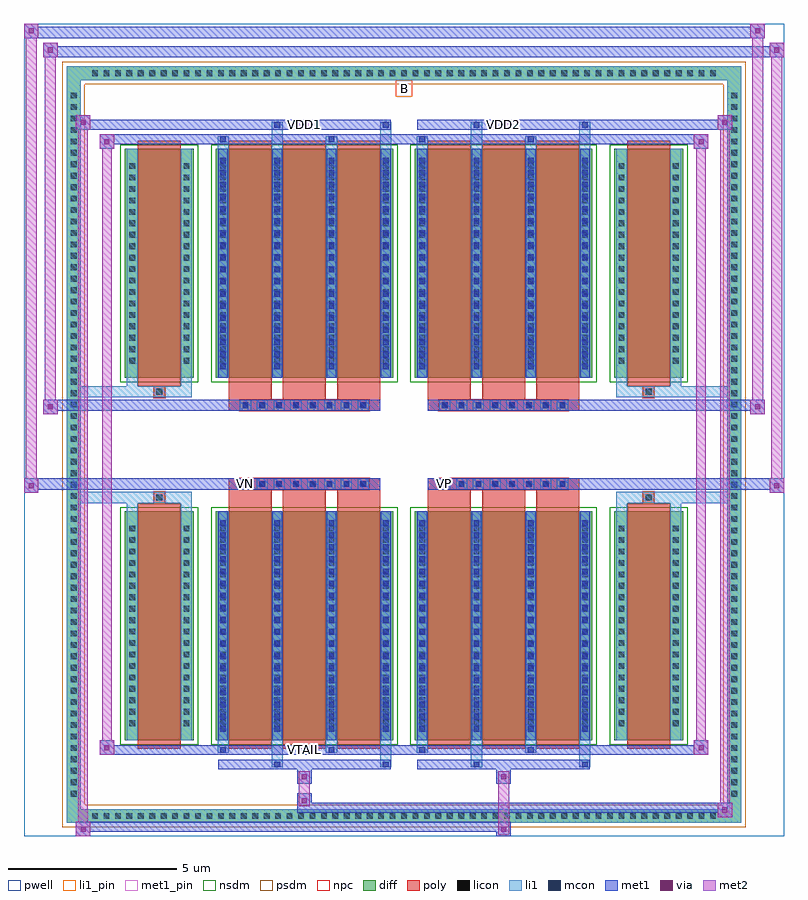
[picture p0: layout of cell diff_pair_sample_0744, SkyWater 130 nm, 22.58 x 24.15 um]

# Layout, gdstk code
import gdstk
lib = gdstk.Library(unit=1e-6, precision=5e-09)
def R(c, l, rs):  # rectangles x0, y0, x1, y1
    for r in rs: c.add(gdstk.rectangle(r[:2], r[2:], *l))
def A(c, l, x, y, w, h, nx, ny, dx, dy):  # array of equal rectangles
    R(c, l, [(x+i*dx, y+j*dy, x+i*dx+w, y+j*dy+h) for i in range(nx) for j in range(ny)])
def P(c, l, *ps):  # polygons
    for p in ps: c.add(gdstk.Polygon(p, *l))
pwell = (64, 44)
diff = (65, 20)
poly = (66, 20)
licon = (66, 44)
li1_pin = (67, 16)
li1 = (67, 20)
mcon = (67, 44)
met1_pin = (68, 16)
met1 = (68, 20)
via = (68, 44)
met2 = (69, 20)
nsdm = (93, 44)
psdm = (94, 20)
npc = (95, 20)

diff_pair_sample_0744 = lib.new_cell('diff_pair_sample_0744')
R(diff_pair_sample_0744, pwell, [(-11.29,-11.64,11.29,12.51), (-8.61,-9.83,-0.01,-0.805), (0.01,-9.83,8.61,-0.805), (-8.61,0.805,-0.01,9.83), (0.01,0.805,8.61,9.83)])
A(diff_pair_sample_0744, diff, -9.385, -11.24, 0.41, 0.41, 55, 2, 0.34, 22.07)
A(diff_pair_sample_0744, diff, -10.02, -10.575, 0.41, 0.41, 1, 62, 0, 0.34)
A(diff_pair_sample_0744, diff, 9.61, -10.575, 0.41, 0.41, 1, 62, 0, 0.34)
R(diff_pair_sample_0744, diff, [(-9.385,-11.24,9.385,-10.83), (-10.02,-10.575,-9.61,10.575), (9.61,-10.575,10.02,10.575), (-8.3,-8.785,-6.24,-1.985), (-5.6,-8.785,-0.32,-1.985), (0.32,-8.785,5.6,-1.985), (6.24,-8.785,8.3,-1.985), (-8.3,1.985,-6.24,8.785), (-5.6,1.985,-0.32,8.785), (0.32,1.985,5.6,8.785), (6.24,1.985,8.3,8.785), (-9.385,10.83,9.385,11.24)])
P(diff_pair_sample_0744, diff, [(10.02,11.24),(-10.02,11.24),(-10.02,-10.83),(-9.61,-10.83),(-9.61,10.83),(9.61,10.83),(9.61,-10.83),(-9.61,-10.83),(-10.02,-10.83),(-10.02,-11.24),(10.02,-11.24)])
A(diff_pair_sample_0744, poly, -5.21, -9.035, 1.28, 7.3, 3, 2, 1.61, 10.77)
A(diff_pair_sample_0744, poly, 0.71, -9.035, 1.28, 7.3, 3, 2, 1.61, 10.77)
A(diff_pair_sample_0744, poly, -5.21, -1.735, 1.28, 0.4, 3, 2, 1.61, 3.07)
A(diff_pair_sample_0744, poly, 0.71, -1.735, 1.28, 0.4, 3, 2, 1.61, 3.07)
A(diff_pair_sample_0744, poly, -4.875, -1.335, 0.33, 0.33, 8, 2, 0.5, 2.34)
A(diff_pair_sample_0744, poly, 1.045, -1.335, 0.33, 0.33, 8, 2, 0.5, 2.34)
R(diff_pair_sample_0744, poly, [(-7.91,-9.035,-6.63,-1.735), (6.63,-9.035,7.91,-1.735), (-7.435,-1.735,-7.105,-1.405), (-7.435,-1.735,-7.105,-1.405), (7.105,-1.735,7.435,-1.405), (7.105,-1.735,7.435,-1.405), (-5.21,-1.335,-0.71,-1.005), (0.71,-1.335,5.21,-1.005), (-5.21,1.005,-0.71,1.335), (0.71,1.005,5.21,1.335), (-7.435,1.405,-7.105,1.735), (-7.435,1.405,-7.105,1.735), (7.105,1.405,7.435,1.735), (7.105,1.405,7.435,1.735), (-7.91,1.735,-6.63,9.035), (6.63,1.735,7.91,9.035)])
A(diff_pair_sample_0744, licon, -9.265, -11.12, 0.17, 0.17, 55, 2, 0.34, 22.07)
A(diff_pair_sample_0744, licon, -9.9, -10.455, 0.17, 0.17, 1, 62, 0, 0.34)
A(diff_pair_sample_0744, licon, 9.73, -10.455, 0.17, 0.17, 1, 62, 0, 0.34)
A(diff_pair_sample_0744, licon, -8.16, -8.36, 0.17, 0.17, 1, 18, 0, 0.34)
A(diff_pair_sample_0744, licon, -6.55, -8.36, 0.17, 0.17, 1, 18, 0, 0.34)
A(diff_pair_sample_0744, licon, -5.46, -8.36, 0.17, 0.17, 4, 18, 1.61, 0.34)
A(diff_pair_sample_0744, licon, 0.46, -8.36, 0.17, 0.17, 4, 18, 1.61, 0.34)
A(diff_pair_sample_0744, licon, 6.38, -8.36, 0.17, 0.17, 1, 18, 0, 0.34)
A(diff_pair_sample_0744, licon, 7.99, -8.36, 0.17, 0.17, 1, 18, 0, 0.34)
A(diff_pair_sample_0744, licon, -4.795, -1.255, 0.17, 0.17, 8, 2, 0.5, 2.34)
A(diff_pair_sample_0744, licon, 1.125, -1.255, 0.17, 0.17, 8, 2, 0.5, 2.34)
A(diff_pair_sample_0744, licon, -8.16, 2.41, 0.17, 0.17, 1, 18, 0, 0.34)
A(diff_pair_sample_0744, licon, -6.55, 2.41, 0.17, 0.17, 1, 18, 0, 0.34)
A(diff_pair_sample_0744, licon, -5.46, 2.41, 0.17, 0.17, 4, 18, 1.61, 0.34)
A(diff_pair_sample_0744, licon, 0.46, 2.41, 0.17, 0.17, 4, 18, 1.61, 0.34)
A(diff_pair_sample_0744, licon, 6.38, 2.41, 0.17, 0.17, 1, 18, 0, 0.34)
A(diff_pair_sample_0744, licon, 7.99, 2.41, 0.17, 0.17, 1, 18, 0, 0.34)
R(diff_pair_sample_0744, licon, [(-7.355,-1.655,-7.185,-1.485), (7.185,-1.655,7.355,-1.485), (-7.355,1.485,-7.185,1.655), (7.185,1.485,7.355,1.655)])
R(diff_pair_sample_0744, li1_pin, [(-0.25,10.33,0.25,10.83)])
A(diff_pair_sample_0744, li1, -9.345, -11.2, 0.33, 0.33, 55, 2, 0.34, 22.07)
A(diff_pair_sample_0744, li1, -9.98, -10.535, 0.33, 0.33, 1, 62, 0, 0.34)
A(diff_pair_sample_0744, li1, 9.65, -10.535, 0.33, 0.33, 1, 62, 0, 0.34)
A(diff_pair_sample_0744, li1, -5.54, -8.785, 0.33, 6.8, 4, 2, 1.61, 10.77)
A(diff_pair_sample_0744, li1, 0.38, -8.785, 0.33, 6.8, 4, 2, 1.61, 10.77)
A(diff_pair_sample_0744, li1, -5.46, -8.53, 0.17, 0.17, 4, 18, 1.61, 0.36)
A(diff_pair_sample_0744, li1, -5.46, -8.53, 0.17, 6.29, 4, 2, 1.61, 10.77)
A(diff_pair_sample_0744, li1, 0.46, -8.53, 0.17, 0.17, 4, 18, 1.61, 0.36)
A(diff_pair_sample_0744, li1, 0.46, -8.53, 0.17, 6.29, 4, 2, 1.61, 10.77)
A(diff_pair_sample_0744, li1, -8.24, -8.44, 0.33, 0.33, 1, 18, 0, 0.34)
A(diff_pair_sample_0744, li1, -6.63, -8.44, 0.33, 0.33, 1, 18, 0, 0.34)
A(diff_pair_sample_0744, li1, -5.54, -8.44, 0.33, 0.33, 4, 18, 1.61, 0.34)
A(diff_pair_sample_0744, li1, 0.38, -8.44, 0.33, 0.33, 4, 18, 1.61, 0.34)
A(diff_pair_sample_0744, li1, 6.3, -8.44, 0.33, 0.33, 1, 18, 0, 0.34)
A(diff_pair_sample_0744, li1, 7.91, -8.44, 0.33, 0.33, 1, 18, 0, 0.34)
A(diff_pair_sample_0744, li1, -4.875, -1.335, 0.33, 0.33, 8, 2, 0.5, 2.34)
A(diff_pair_sample_0744, li1, 1.045, -1.335, 0.33, 0.33, 8, 2, 0.5, 2.34)
A(diff_pair_sample_0744, li1, -5.46, 2.24, 0.17, 0.17, 4, 18, 1.61, 0.36)
A(diff_pair_sample_0744, li1, 0.46, 2.24, 0.17, 0.17, 4, 18, 1.61, 0.36)
A(diff_pair_sample_0744, li1, -8.24, 2.33, 0.33, 0.33, 1, 18, 0, 0.34)
A(diff_pair_sample_0744, li1, -6.63, 2.33, 0.33, 0.33, 1, 18, 0, 0.34)
A(diff_pair_sample_0744, li1, -5.54, 2.33, 0.33, 0.33, 4, 18, 1.61, 0.34)
A(diff_pair_sample_0744, li1, 0.38, 2.33, 0.33, 0.33, 4, 18, 1.61, 0.34)
A(diff_pair_sample_0744, li1, 6.3, 2.33, 0.33, 0.33, 1, 18, 0, 0.34)
A(diff_pair_sample_0744, li1, 7.91, 2.33, 0.33, 0.33, 1, 18, 0, 0.34)
R(diff_pair_sample_0744, li1, [(-10.02,-11.24,-9.61,-10.83), (-10.02,-11.24,-9.61,-10.83), (-9.61,-11.24,9.61,-10.83), (9.61,-11.24,10.02,-10.83), (9.61,-11.24,10.02,-10.83), (-10.02,-10.83,-9.61,10.83), (9.61,-10.83,10.02,10.83), (-3.93,-9.59,-3.6,-8.785), (-3.85,-9.59,-3.68,-9.42), (-0.71,-9.59,-0.38,-8.785), (-0.63,-9.59,-0.46,-9.42), (1.99,-9.59,2.32,-8.785), (2.07,-9.59,2.24,-9.42), (5.21,-9.59,5.54,-8.785), (5.29,-9.59,5.46,-9.42), (-5.54,-9.16,-5.21,-8.785), (-5.46,-9.16,-5.29,-8.99), (-2.32,-9.16,-1.99,-8.785), (-2.24,-9.16,-2.07,-8.99), (0.38,-9.16,0.71,-8.785), (0.46,-9.16,0.63,-8.99), (3.6,-9.16,3.93,-8.785), (3.68,-9.16,3.85,-8.99), (-8.24,-8.785,-7.91,-1.985), (-6.63,-8.785,-6.3,-1.985), (6.3,-8.785,6.63,-1.985), (7.91,-8.785,8.24,-1.985), (-8.24,-1.985,-7.91,-1.405), (-6.63,-1.985,-6.3,-1.405), (6.3,-1.985,6.63,-1.405), (7.91,-1.985,8.24,-1.405), (-10.02,-1.735,-7.435,-1.405), (-8.24,-1.735,-7.435,-1.405), (-7.435,-1.735,-7.105,-1.405), (-7.105,-1.735,-6.3,-1.405), (6.3,-1.735,7.105,-1.405), (7.105,-1.735,7.435,-1.405), (7.105,-1.735,10.02,-1.405), (7.435,-1.735,8.24,-1.405), (-10.02,1.405,-7.435,1.735), (-8.24,1.405,-7.435,1.735), (-8.24,1.405,-7.91,1.985), (-7.435,1.405,-7.105,1.735), (-7.105,1.405,-6.3,1.735), (-6.63,1.405,-6.3,1.985), (6.3,1.405,7.105,1.735), (6.3,1.405,6.63,1.985), (7.105,1.405,7.435,1.735), (7.105,1.405,10.02,1.735), (7.435,1.405,8.24,1.735), (7.91,1.405,8.24,1.985), (-8.24,1.985,-7.91,8.785), (-6.63,1.985,-6.3,8.785), (6.3,1.985,6.63,8.785), (7.91,1.985,8.24,8.785), (-5.54,8.785,-5.21,9.16), (-3.93,8.785,-3.6,9.59), (-2.32,8.785,-1.99,9.16), (-0.71,8.785,-0.38,9.59), (0.38,8.785,0.71,9.16), (1.99,8.785,2.32,9.59), (3.6,8.785,3.93,9.16), (5.21,8.785,5.54,9.59), (-5.46,8.99,-5.29,9.16), (-2.24,8.99,-2.07,9.16), (0.46,8.99,0.63,9.16), (3.68,8.99,3.85,9.16), (-3.85,9.42,-3.68,9.59), (-0.63,9.42,-0.46,9.59), (2.07,9.42,2.24,9.59), (5.29,9.42,5.46,9.59), (-10.02,10.83,-9.61,11.24), (-10.02,10.83,-9.61,11.24), (-9.61,10.83,9.61,11.24), (9.61,10.83,10.02,11.24), (9.61,10.83,10.02,11.24)])
A(diff_pair_sample_0744, mcon, -5.46, -8.53, 0.17, 0.17, 4, 18, 1.61, 0.36)
A(diff_pair_sample_0744, mcon, 0.46, -8.53, 0.17, 0.17, 4, 18, 1.61, 0.36)
A(diff_pair_sample_0744, mcon, -4.795, -1.255, 0.17, 0.17, 8, 2, 0.5, 2.34)
A(diff_pair_sample_0744, mcon, 1.125, -1.255, 0.17, 0.17, 8, 2, 0.5, 2.34)
A(diff_pair_sample_0744, mcon, -5.46, 2.24, 0.17, 0.17, 4, 18, 1.61, 0.36)
A(diff_pair_sample_0744, mcon, 0.46, 2.24, 0.17, 0.17, 4, 18, 1.61, 0.36)
R(diff_pair_sample_0744, mcon, [(-3.85,-9.59,-3.68,-9.42), (-0.63,-9.59,-0.46,-9.42), (2.07,-9.59,2.24,-9.42), (5.29,-9.59,5.46,-9.42), (-5.46,-9.16,-5.29,-8.99), (-2.24,-9.16,-2.07,-8.99), (0.46,-9.16,0.63,-8.99), (3.68,-9.16,3.85,-8.99), (-5.46,8.99,-5.29,9.16), (-2.24,8.99,-2.07,9.16), (0.46,8.99,0.63,9.16), (3.68,8.99,3.85,9.16), (-3.85,9.42,-3.68,9.59), (-0.63,9.42,-0.46,9.59), (2.07,9.42,2.24,9.59), (5.29,9.42,5.46,9.59)])
R(diff_pair_sample_0744, met1_pin, [(-3.095,-9.2,-2.825,-8.93), (-4.845,-1.295,-4.575,-1.025), (1.075,-1.295,1.345,-1.025), (-3.095,9.38,-2.825,9.65), (2.825,9.38,3.095,9.65)])
A(diff_pair_sample_0744, met1, -5.52, -8.785, 0.29, 6.8, 4, 2, 1.61, 10.77)
A(diff_pair_sample_0744, met1, 0.4, -8.785, 0.29, 6.8, 4, 2, 1.61, 10.77)
A(diff_pair_sample_0744, met1, -5.52, -8.59, 0.29, 0.29, 4, 18, 1.61, 0.36)
A(diff_pair_sample_0744, met1, 0.4, -8.59, 0.29, 0.29, 4, 18, 1.61, 0.36)
A(diff_pair_sample_0744, met1, -4.855, -1.315, 0.29, 0.29, 8, 2, 0.5, 2.34)
A(diff_pair_sample_0744, met1, 1.065, -1.315, 0.29, 0.29, 8, 2, 0.5, 2.34)
A(diff_pair_sample_0744, met1, -5.52, 2.18, 0.29, 0.29, 4, 18, 1.61, 0.36)
A(diff_pair_sample_0744, met1, 0.4, 2.18, 0.29, 0.29, 4, 18, 1.61, 0.36)
R(diff_pair_sample_0744, met1, [(-9.75,-11.64,-9.32,-11.21), (2.745,-11.64,3.175,-11.21), (-9.75,-11.5,3.175,-11.21), (9.32,-11.07,9.75,-10.64), (-3.175,-10.93,9.75,-10.64), (-3.175,-10.79,-2.745,-10.36), (-3.175,-10.08,-2.745,-9.65), (2.745,-10.08,3.175,-9.65), (-5.52,-9.65,-0.4,-9.36), (-3.91,-9.65,-3.62,-9.36), (-0.69,-9.65,-0.4,-9.36), (0.4,-9.65,5.52,-9.36), (2.01,-9.65,2.3,-9.36), (5.23,-9.65,5.52,-9.36), (-9.04,-9.22,-8.61,-8.79), (-9.04,-9.22,-5.52,-8.93), (-5.52,-9.22,-5.23,-8.93), (-5.52,-9.22,-0.4,-8.93), (-2.3,-9.22,-2.01,-8.93), (-0.4,-9.22,0.4,-8.93), (0.4,-9.22,0.69,-8.93), (0.4,-9.22,5.52,-8.93), (3.62,-9.22,3.91,-8.93), (5.52,-9.22,9.04,-8.93), (8.61,-9.22,9.04,-8.79), (-11.29,-1.435,-10.86,-1.005), (10.86,-1.435,11.29,-1.005), (-11.29,-1.335,-0.71,-1.005), (-5.21,-1.335,-0.71,-1.005), (0.71,-1.335,5.21,-1.005), (0.71,-1.335,11.29,-1.005), (-10.72,0.905,-10.29,1.335), (10.29,0.905,10.72,1.335), (-10.72,1.005,-5.21,1.335), (-5.21,1.005,-0.71,1.335), (0.71,1.005,5.21,1.335), (5.21,1.005,10.72,1.335), (-9.04,8.79,-8.61,9.22), (8.61,8.79,9.04,9.22), (-9.04,8.93,-5.52,9.22), (-5.52,8.93,-5.23,9.22), (-5.52,8.93,-0.4,9.22), (-2.3,8.93,-2.01,9.22), (-0.4,8.93,0.4,9.22), (0.4,8.93,0.69,9.22), (0.4,8.93,5.52,9.22), (3.62,8.93,3.91,9.22), (5.52,8.93,9.04,9.22), (-9.75,9.36,-9.32,9.79), (-9.75,9.36,-5.52,9.65), (-5.52,9.36,-0.4,9.65), (-3.91,9.36,-3.62,9.65), (-0.69,9.36,-0.4,9.65), (0.4,9.36,5.52,9.65), (2.01,9.36,2.3,9.65), (5.23,9.36,5.52,9.65), (5.52,9.36,9.75,9.65), (9.32,9.36,9.75,9.79), (-10.72,11.51,-10.29,11.94), (-10.72,11.51,-8.61,11.84), (-8.61,11.51,8.61,11.84), (8.61,11.51,11.29,11.84), (10.86,11.51,11.29,11.94), (-11.29,12.08,-10.86,12.51), (-11.29,12.08,-8.61,12.41), (-8.61,12.08,8.61,12.41), (8.61,12.08,10.72,12.41), (10.29,12.08,10.72,12.51)])
R(diff_pair_sample_0744, via, [(-9.61,-11.5,-9.46,-11.35), (2.885,-11.5,3.035,-11.35), (9.46,-10.93,9.61,-10.78), (-3.035,-10.65,-2.885,-10.5), (-3.035,-9.94,-2.885,-9.79), (2.885,-9.94,3.035,-9.79), (-8.9,-9.08,-8.75,-8.93), (8.75,-9.08,8.9,-8.93), (-11.15,-1.295,-11,-1.145), (11,-1.295,11.15,-1.145), (-10.58,1.045,-10.43,1.195), (10.43,1.045,10.58,1.195), (-8.9,8.93,-8.75,9.08), (8.75,8.93,8.9,9.08), (-9.61,9.5,-9.46,9.65), (9.46,9.5,9.61,9.65), (-10.58,11.65,-10.43,11.8), (11,11.65,11.15,11.8), (-11.15,12.22,-11,12.37), (10.43,12.22,10.58,12.37)])
R(diff_pair_sample_0744, met2, [(-9.75,-11.64,-9.32,-11.21), (-9.68,-11.64,-9.39,9.79), (-9.39,-11.64,-9.32,-11.21), (-9.7,-11.59,-9.37,-11.26), (2.795,-11.59,3.125,-11.26), (2.795,-11.26,3.125,-10.03), (9.32,-11.07,9.75,-10.64), (9.39,-11.07,9.68,9.79), (9.68,-11.07,9.75,-10.64), (9.37,-11.02,9.7,-10.69), (-3.125,-10.74,-2.795,-10.41), (-3.125,-10.41,-2.795,-10.03), (-3.125,-10.03,-2.795,-9.7), (2.795,-10.03,3.125,-9.7), (-9.04,-9.22,-8.61,-8.79), (-8.97,-9.22,-8.68,9.22), (-8.68,-9.22,-8.61,-8.79), (8.61,-9.22,9.04,-8.79), (8.68,-9.22,8.97,9.22), (8.97,-9.22,9.04,-8.79), (-8.99,-9.17,-8.66,-8.84), (8.66,-9.17,8.99,-8.84), (-11.29,-1.435,-10.86,-1.005), (-11.24,-1.435,-10.91,12.51), (-10.91,-1.435,-10.86,-1.005), (10.86,-1.435,11.29,-1.005), (10.91,-1.435,11.24,11.94), (11.24,-1.435,11.29,-1.005), (-11.24,-1.385,-10.91,-1.055), (10.91,-1.385,11.24,-1.055), (-10.72,0.905,-10.29,1.335), (-10.67,0.905,-10.34,11.94), (-10.34,0.905,-10.29,1.335), (10.29,0.905,10.72,1.335), (10.34,0.905,10.67,12.51), (10.67,0.905,10.72,1.335), (-10.67,0.955,-10.34,1.285), (10.34,0.955,10.67,1.285), (-9.04,8.79,-8.61,9.22), (-8.68,8.79,-8.61,9.22), (8.61,8.79,9.04,9.22), (8.97,8.79,9.04,9.22), (-8.99,8.84,-8.66,9.17), (8.66,8.84,8.99,9.17), (-9.75,9.36,-9.32,9.79), (-9.39,9.36,-9.32,9.79), (9.32,9.36,9.75,9.79), (9.68,9.36,9.75,9.79), (-9.7,9.41,-9.37,9.74), (9.37,9.41,9.7,9.74), (-10.72,11.51,-10.29,11.94), (-10.34,11.51,-10.29,11.94), (10.86,11.51,11.29,11.94), (11.24,11.51,11.29,11.94), (-10.67,11.56,-10.34,11.89), (10.91,11.56,11.24,11.89), (-11.29,12.08,-10.86,12.51), (-10.91,12.08,-10.86,12.51), (10.29,12.08,10.72,12.51), (10.67,12.08,10.72,12.51), (-11.24,12.13,-10.91,12.46), (10.34,12.13,10.67,12.46)])
R(diff_pair_sample_0744, nsdm, [(-8.43,-8.915,-6.11,-1.855), (-5.73,-8.915,-0.19,-1.855), (0.19,-8.915,5.73,-1.855), (6.11,-8.915,8.43,-1.855), (-8.43,1.855,-6.11,8.915), (-5.73,1.855,-0.19,8.915), (0.19,1.855,5.73,8.915), (6.11,1.855,8.43,8.915)])
P(diff_pair_sample_0744, psdm, [(10.15,11.37),(-10.15,11.37),(-10.15,-10.7),(-9.48,-10.7),(-9.48,10.7),(9.48,10.7),(9.48,-10.7),(-9.48,-10.7),(-10.15,-10.7),(-10.15,-11.37),(10.15,-11.37)])
A(diff_pair_sample_0744, npc, -4.895, -1.355, 0.37, 0.37, 8, 2, 0.5, 2.34)
A(diff_pair_sample_0744, npc, 1.025, -1.355, 0.37, 0.37, 8, 2, 0.5, 2.34)
R(diff_pair_sample_0744, npc, [(-7.455,-1.755,-7.085,-1.385), (7.085,-1.755,7.455,-1.385), (-4.895,-1.355,-4.025,-0.985), (-4.895,-1.355,-4.025,-0.985), (-4.395,-1.355,-3.525,-0.985), (-4.395,-1.355,-3.525,-0.985), (-3.895,-1.355,-3.025,-0.985), (-3.895,-1.355,-3.025,-0.985), (-3.395,-1.355,-2.525,-0.985), (-3.395,-1.355,-2.525,-0.985), (-2.895,-1.355,-2.025,-0.985), (-2.895,-1.355,-2.025,-0.985), (-2.395,-1.355,-1.525,-0.985), (-2.395,-1.355,-1.525,-0.985), (-1.895,-1.355,-1.025,-0.985), (-1.895,-1.355,-1.025,-0.985), (1.025,-1.355,1.895,-0.985), (1.025,-1.355,1.895,-0.985), (1.525,-1.355,2.395,-0.985), (1.525,-1.355,2.395,-0.985), (2.025,-1.355,2.895,-0.985), (2.025,-1.355,2.895,-0.985), (2.525,-1.355,3.395,-0.985), (2.525,-1.355,3.395,-0.985), (3.025,-1.355,3.895,-0.985), (3.025,-1.355,3.895,-0.985), (3.525,-1.355,4.395,-0.985), (3.525,-1.355,4.395,-0.985), (4.025,-1.355,4.895,-0.985), (4.025,-1.355,4.895,-0.985), (-4.895,0.985,-4.025,1.355), (-4.895,0.985,-4.025,1.355), (-4.395,0.985,-3.525,1.355), (-4.395,0.985,-3.525,1.355), (-3.895,0.985,-3.025,1.355), (-3.895,0.985,-3.025,1.355), (-3.395,0.985,-2.525,1.355), (-3.395,0.985,-2.525,1.355), (-2.895,0.985,-2.025,1.355), (-2.895,0.985,-2.025,1.355), (-2.395,0.985,-1.525,1.355), (-2.395,0.985,-1.525,1.355), (-1.895,0.985,-1.025,1.355), (-1.895,0.985,-1.025,1.355), (1.025,0.985,1.895,1.355), (1.025,0.985,1.895,1.355), (1.525,0.985,2.395,1.355), (1.525,0.985,2.395,1.355), (2.025,0.985,2.895,1.355), (2.025,0.985,2.895,1.355), (2.525,0.985,3.395,1.355), (2.525,0.985,3.395,1.355), (3.025,0.985,3.895,1.355), (3.025,0.985,3.895,1.355), (3.525,0.985,4.395,1.355), (3.525,0.985,4.395,1.355), (4.025,0.985,4.895,1.355), (4.025,0.985,4.895,1.355), (-7.455,1.385,-7.085,1.755), (7.085,1.385,7.455,1.755)])
diff_pair_sample_0744.add(gdstk.Label('VTAIL', (-2.96,-9.065), layer=68, texttype=5))
diff_pair_sample_0744.add(gdstk.Label('VN', (-4.71,-1.16), layer=68, texttype=5))
diff_pair_sample_0744.add(gdstk.Label('VP', (1.21,-1.16), layer=68, texttype=5))
diff_pair_sample_0744.add(gdstk.Label('B', (0,10.58), layer=67, texttype=5))
diff_pair_sample_0744.add(gdstk.Label('VDD2', (2.96,9.515), layer=68, texttype=5))
diff_pair_sample_0744.add(gdstk.Label('VDD1', (-2.96,9.515), layer=68, texttype=5))

lib.write_gds('diff_pair_sample_0744.gds')
